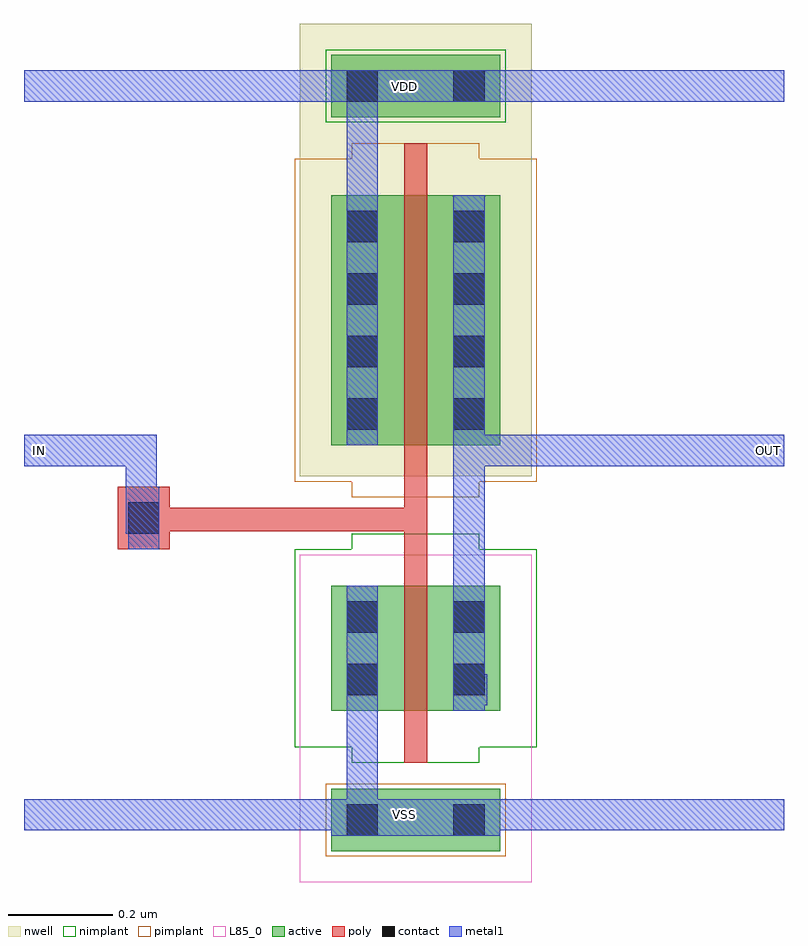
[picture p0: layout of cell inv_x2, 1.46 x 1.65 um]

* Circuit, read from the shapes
.subckt inv_x2 IN OUT VDD VSS
M1 OUT IN VSS VSS nfet w=0.24u l=0.045u
M2 OUT IN VDD VDD pfet w=0.48u l=0.045u
.ends

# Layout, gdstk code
from math import pi, radians
import gdstk
lib = gdstk.Library(unit=1e-6, precision=5e-10)
def R(c, l, rs):  # rectangles x0, y0, x1, y1
    for r in rs: c.add(gdstk.rectangle(r[:2], r[2:], *l))
def A(c, l, x, y, w, h, nx, ny, dx, dy):  # array of equal rectangles
    R(c, l, [(x+i*dx, y+j*dy, x+i*dx+w, y+j*dy+h) for i in range(nx) for j in range(ny)])
active = (1, 0)
nwell = (2, 0)
poly = (3, 0)
nimplant = (4, 0)
pimplant = (5, 0)
contact = (6, 0)
metal1 = (7, 0)
L85_0 = (85, 0)

nmos1v_cdns_777509596340 = lib.new_cell('nmos1v_CDNS_777509596340')
R(nmos1v_cdns_777509596340, active, [(-0.14,-0.27,0.185,-0.15), (-0.14,0,0,0.24), (0,0,0.045,0.24), (0.045,0,0.185,0.24)])
R(nmos1v_cdns_777509596340, poly, [(0,-0.1,0.045,-0.05), (0,-0.05,0.045,0), (0,0,0.045,0.24), (0,0.24,0.045,0.29), (0,0.29,0.045,0.34)])
R(nmos1v_cdns_777509596340, nimplant, [(-0.1,-0.1,0.145,0.34), (-0.21,-0.07,0.255,0.31)])
R(nmos1v_cdns_777509596340, pimplant, [(-0.15,-0.28,0.195,-0.14)])
R(nmos1v_cdns_777509596340, contact, [(-0.11,-0.24,-0.05,-0.18), (0.095,-0.24,0.155,-0.18), (-0.11,0.03,-0.05,0.09), (0.095,0.03,0.155,0.09), (-0.11,0.15,-0.05,0.21), (0.095,0.15,0.155,0.21)])
R(nmos1v_cdns_777509596340, metal1, [(-0.14,-0.24,0.185,-0.18), (-0.11,0,-0.05,0.24), (0.095,0,0.155,0.24)])
R(nmos1v_cdns_777509596340, L85_0, [(-0.2,-0.33,0.245,0.3)])
nmos1v_cdns_777509596340.add(gdstk.Label('B_botTap', (0.0225,-0.21), layer=1, texttype=0))
nmos1v_cdns_777509596340.add(gdstk.Label('D_drain_1', (0.115,0.12), layer=1, texttype=0))
nmos1v_cdns_777509596340.add(gdstk.Label('S_source_0', (-0.07,0.12), layer=1, texttype=0))
nmos1v_cdns_777509596340.add(gdstk.Label('G_gate_1', (0.0225,-0.075), layer=3, texttype=0))
nmos1v_cdns_777509596340.add(gdstk.Label('G_gate_1', (0.0225,0.315), layer=3, texttype=0))
nmos1v_cdns_777509596340.add(gdstk.Label('B_botTap', (0.0225,-0.21), layer=7, texttype=0))
nmos1v_cdns_777509596340.add(gdstk.Label('D_drain_1', (0.125,0.12), layer=7, texttype=0))
nmos1v_cdns_777509596340.add(gdstk.Label('S_source_0', (-0.08,0.12), layer=7, texttype=0))
nmos1v_cdns_777509596340.add(gdstk.Label('B_botTap', (0.0225,-0.015), layer=85, texttype=0))

pmos1v_cdns_777509596341 = lib.new_cell('pmos1v_CDNS_777509596341')
R(pmos1v_cdns_777509596341, active, [(-0.14,-0.27,0.185,-0.15), (-0.14,0,0,0.48), (0,0,0.045,0.48), (0.045,0,0.185,0.48)])
R(pmos1v_cdns_777509596341, nwell, [(-0.2,-0.33,0.245,0.54)])
R(pmos1v_cdns_777509596341, poly, [(0,-0.1,0.045,-0.05), (0,-0.05,0.045,0), (0,0,0.045,0.48), (0,0.48,0.045,0.53), (0,0.53,0.045,0.58)])
R(pmos1v_cdns_777509596341, nimplant, [(-0.15,-0.28,0.195,-0.14)])
R(pmos1v_cdns_777509596341, pimplant, [(-0.1,-0.1,0.145,0.58), (-0.21,-0.07,0.255,0.55)])
A(pmos1v_cdns_777509596341, contact, -0.11, 0.03, 0.06, 0.06, 1, 4, 0, 0.12)
A(pmos1v_cdns_777509596341, contact, 0.095, 0.03, 0.06, 0.06, 1, 4, 0, 0.12)
R(pmos1v_cdns_777509596341, contact, [(-0.11,-0.24,-0.05,-0.18), (0.095,-0.24,0.155,-0.18)])
R(pmos1v_cdns_777509596341, metal1, [(-0.14,-0.24,0.185,-0.18), (-0.11,0,-0.05,0.48), (0.095,0,0.155,0.48)])
pmos1v_cdns_777509596341.add(gdstk.Label('B_botTap', (0.0225,-0.21), layer=1, texttype=0))
pmos1v_cdns_777509596341.add(gdstk.Label('D_drain_1', (0.115,0.24), layer=1, texttype=0))
pmos1v_cdns_777509596341.add(gdstk.Label('S_source_0', (-0.07,0.24), layer=1, texttype=0))
pmos1v_cdns_777509596341.add(gdstk.Label('G_gate_1', (0.0225,-0.075), layer=3, texttype=0))
pmos1v_cdns_777509596341.add(gdstk.Label('G_gate_1', (0.0225,0.555), layer=3, texttype=0))
pmos1v_cdns_777509596341.add(gdstk.Label('B_botTap', (0.0225,-0.21), layer=7, texttype=0))
pmos1v_cdns_777509596341.add(gdstk.Label('D_drain_1', (0.125,0.24), layer=7, texttype=0))
pmos1v_cdns_777509596341.add(gdstk.Label('S_source_0', (-0.08,0.24), layer=7, texttype=0))
pmos1v_cdns_777509596341.add(gdstk.Label('B_botTap', (0.0225,0.105), layer=2, texttype=0))

m1_po_cdns_777509596340 = lib.new_cell('M1_PO_CDNS_777509596340')
R(m1_po_cdns_777509596340, poly, [(-0.05,-0.06,0.05,0.06)])
R(m1_po_cdns_777509596340, contact, [(-0.03,-0.03,0.03,0.03)])
R(m1_po_cdns_777509596340, metal1, [(-0.03,-0.06,0.03,0.06)])

inv_x2 = lib.new_cell('inv_x2')
R(inv_x2, metal1, [(0,0,1.46,0.06), (0,0.7,0.06,0.76), (1.4,0.7,1.46,0.76), (0,1.4,1.46,1.46)])
inv_x2.add(gdstk.FlexPath([(0.7525,0.5975),(0.7525,0.64)], 0.045, ends=(0.0225, 0), simple_path=True, layer=3, datatype=0))  # poly
inv_x2.add(gdstk.FlexPath([(0.7525,0.5975),(0.23,0.5975)], 0.045, ends=(0.0225, 0), simple_path=True, layer=3, datatype=0))  # poly
inv_x2.add(gdstk.FlexPath([(0.7525,0.57),(0.7525,0.5975)], 0.045, ends=(0, 0.0225), simple_path=True, layer=3, datatype=0))  # poly
inv_x2.add(gdstk.FlexPath([(0.225,0.6),(0.23,0.6)], 0.06, ends=(0.03, 0), simple_path=True, layer=7, datatype=0))  # metal1
inv_x2.add(gdstk.FlexPath([(1.4,0.73),(0.855,0.73)], 0.06, ends="flush", simple_path=True, layer=7, datatype=0))  # metal1
inv_x2.add(gdstk.FlexPath([(0.855,0.27),(0.89,0.27)], 0.06, ends=(0.03, 0), simple_path=True, layer=7, datatype=0))  # metal1
inv_x2.add(gdstk.FlexPath([(0.855,0.74),(0.855,0.27)], 0.06, ends=(0, 0.03), simple_path=True, layer=7, datatype=0))  # metal1
inv_x2.add(gdstk.FlexPath([(0.65,1.22),(0.65,1.46)], 0.06, ends="flush", simple_path=True, layer=7, datatype=0))  # metal1
inv_x2.add(gdstk.FlexPath([(0.225,0.73),(0.225,0.6)], 0.06, ends="extended", simple_path=True, layer=7, datatype=0))  # metal1
inv_x2.add(gdstk.FlexPath([(0.03,0.73),(0.225,0.73)], 0.06, ends=(0, 0.03), simple_path=True, layer=7, datatype=0))  # metal1
inv_x2.add(gdstk.FlexPath([(0.65,0.23),(0.65,-0.01)], 0.06, ends="flush", simple_path=True, layer=7, datatype=0))  # metal1
inv_x2.add(gdstk.Reference(nmos1v_cdns_777509596340, (0.73,0.23)))
inv_x2.add(gdstk.Reference(pmos1v_cdns_777509596341, (0.775,1.22), rotation=pi))
inv_x2.add(gdstk.Reference(m1_po_cdns_777509596340, (0.23,0.6)))
inv_x2.add(gdstk.Label('OUT', (1.43,0.73), layer=7, texttype=0))
inv_x2.add(gdstk.Label('IN', (0.03,0.73), layer=7, texttype=0))
inv_x2.add(gdstk.Label('VSS', (0.73,0.03), layer=7, texttype=0))
inv_x2.add(gdstk.Label('VDD', (0.73,1.43), layer=7, texttype=0))

lib.write_gds('inv_x2.gds')
